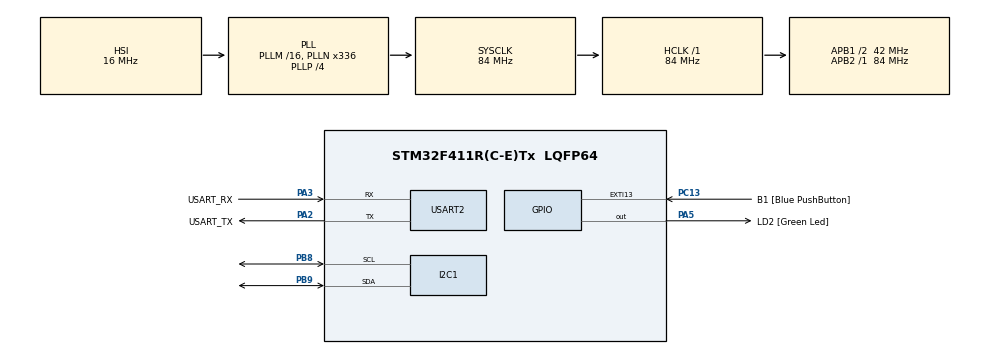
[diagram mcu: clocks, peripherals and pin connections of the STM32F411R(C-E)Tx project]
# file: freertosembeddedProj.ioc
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FREERTOS.Tasks01=defaultTask,24,512,StartDefaultTask,Default,NULL,Dynamic,NULL,NULL
Mcu.Family=STM32F4
Mcu.Name=STM32F411R(C-E)Tx
Mcu.Package=LQFP64
NVIC.PriorityGroup=NVIC_PRIORITYGROUP_4
NVIC.TIM1_UP_TIM10_IRQn=true\:15\:0\:false\:false\:true\:false\:false\:true\:true
NVIC.TimeBase=TIM1_UP_TIM10_IRQn
NVIC.TimeBaseIP=TIM1
PA13.GPIO_Label=TMS
PA13.Mode=Serial_Wire
PA13.Signal=SYS_JTMS-SWDIO
PA14.GPIO_Label=TCK
PA14.Mode=Serial_Wire
PA14.Signal=SYS_JTCK-SWCLK
PA2.GPIO_Label=USART_TX
PA2.Mode=Asynchronous
PA2.Signal=USART2_TX
PA3.GPIO_Label=USART_RX
PA3.Mode=Asynchronous
PA3.Signal=USART2_RX
PA5.GPIO_Label=LD2 [Green Led]
PA5.Signal=GPIO_Output
PB3.GPIO_Label=SWO
PB3.Signal=SYS_JTDO-SWO
PB8.Mode=I2C
PB8.Signal=I2C1_SCL
PB9.Mode=I2C
PB9.Signal=I2C1_SDA
PC13-ANTI_TAMP.GPIO_Label=B1 [Blue PushButton]
PC13-ANTI_TAMP.GPIO_ModeDefaultEXTI=GPIO_MODE_IT_FALLING
PC13-ANTI_TAMP.Signal=GPXTI13
PC14-OSC32_IN.Signal=RCC_OSC32_IN
PC15-OSC32_OUT.Signal=RCC_OSC32_OUT
PH0\ -\ OSC_IN.Signal=RCC_OSC_IN
PH1\ -\ OSC_OUT.Signal=RCC_OSC_OUT
ProjectManager.HeapSize=0x200
ProjectManager.StackSize=0x400
ProjectManager.TargetToolchain=Makefile
RCC.48MHZClocksFreq_Value=84000000
RCC.AHBFreq_Value=84000000
RCC.APB1CLKDivider=RCC_HCLK_DIV2
RCC.APB1Freq_Value=42000000
RCC.APB1TimFreq_Value=84000000
RCC.APB2Freq_Value=84000000
RCC.APB2TimFreq_Value=84000000
RCC.CortexFreq_Value=84000000
RCC.FLatency-AdvancedSettings=FLASH_LATENCY_2
RCC.HCLKFreq_Value=84000000
RCC.HSE_VALUE=8000000
RCC.HSI_VALUE=16000000
RCC.LSE_VALUE=32768
RCC.PLLN=336
RCC.PLLP=RCC_PLLP_DIV4
RCC.SYSCLKFreq_VALUE=84000000
RCC.SYSCLKSource=RCC_SYSCLKSOURCE_PLLCLK
RCC.VCOOutputFreq_Value=336000000
USART2.VirtualMode=VM_ASYNC
VP_FREERTOS_VS_CMSIS_V2.Mode=CMSIS_V2
VP_SYS_VS_tim1.Mode=TIM1
board=NUCLEO-F411RE

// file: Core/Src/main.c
/* USER CODE BEGIN Header */
/**
  ******************************************************************************
  * @file           : main.c
  * @brief          : Main program body
  ******************************************************************************
  * @attention
  *
  * Copyright (c) 2026 STMicroelectronics.
  * All rights reserved.
  *
  * This software is licensed under terms that can be found in the LICENSE file
  * in the root directory of this software component.
  * If no LICENSE file comes with this software, it is provided AS-IS.
  *
  ******************************************************************************
  */
/* USER CODE END Header */
#include "main.h"
#include "cmsis_os.h"
#include "i2c.h"
#include "usart.h"
#include "gpio.h"

void SystemClock_Config(void);
void MX_FREERTOS_Init(void);

int main(void)
{

  /* MCU Configuration--------------------------------------------------------*/

  /* Reset of all peripherals, Initializes the Flash interface and the Systick. */
  HAL_Init();

  /* Configure the system clock */
  SystemClock_Config();

  /* Initialize all configured peripherals */
  MX_GPIO_Init();
  MX_I2C1_Init();
  MX_USART2_UART_Init();

  /* Init scheduler */
  osKernelInitialize();  /* Call init function for freertos objects (in cmsis_os2.c) */
  MX_FREERTOS_Init();

  /* Start scheduler */
  osKernelStart();

  /* We should never get here as control is now taken by the scheduler */

  /* Infinite loop */
  while (1)
  {

  }
}

void SystemClock_Config(void)
{
  RCC_OscInitTypeDef RCC_OscInitStruct = {0};
  RCC_ClkInitTypeDef RCC_ClkInitStruct = {0};

  /** Configure the main internal regulator output voltage
  */
  __HAL_RCC_PWR_CLK_ENABLE();
  __HAL_PWR_VOLTAGESCALING_CONFIG(PWR_REGULATOR_VOLTAGE_SCALE1);

  /** Initializes the RCC Oscillators according to the specified parameters
  * in the RCC_OscInitTypeDef structure.
  */
  RCC_OscInitStruct.OscillatorType = RCC_OSCILLATORTYPE_HSI;
  RCC_OscInitStruct.HSIState = RCC_HSI_ON;
  RCC_OscInitStruct.HSICalibrationValue = RCC_HSICALIBRATION_DEFAULT;
  RCC_OscInitStruct.PLL.PLLState = RCC_PLL_ON;
  RCC_OscInitStruct.PLL.PLLSource = RCC_PLLSOURCE_HSI;
  RCC_OscInitStruct.PLL.PLLM = 16;
  RCC_OscInitStruct.PLL.PLLN = 336;
  RCC_OscInitStruct.PLL.PLLP = RCC_PLLP_DIV4;
  RCC_OscInitStruct.PLL.PLLQ = 4;
  if (HAL_RCC_OscConfig(&RCC_OscInitStruct) != HAL_OK)
  {
    Error_Handler();
  }

  /** Initializes the CPU, AHB and APB buses clocks
  */
  RCC_ClkInitStruct.ClockType = RCC_CLOCKTYPE_HCLK|RCC_CLOCKTYPE_SYSCLK
                              |RCC_CLOCKTYPE_PCLK1|RCC_CLOCKTYPE_PCLK2;
  RCC_ClkInitStruct.SYSCLKSource = RCC_SYSCLKSOURCE_PLLCLK;
  RCC_ClkInitStruct.AHBCLKDivider = RCC_SYSCLK_DIV1;
  RCC_ClkInitStruct.APB1CLKDivider = RCC_HCLK_DIV2;
  RCC_ClkInitStruct.APB2CLKDivider = RCC_HCLK_DIV1;

  if (HAL_RCC_ClockConfig(&RCC_ClkInitStruct, FLASH_LATENCY_2) != HAL_OK)
  {
    Error_Handler();
  }
}

void HAL_TIM_PeriodElapsedCallback(TIM_HandleTypeDef *htim)
{
  if (htim->Instance == TIM1)
  {
    HAL_IncTick();
  }
}

void Error_Handler(void)
{
  __disable_irq();
  while (1)
  {
  }
}

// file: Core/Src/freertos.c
/* USER CODE BEGIN Header */
/**
  ******************************************************************************
  * File Name          : freertos.c
  * Description        : Code for freertos applications
  ******************************************************************************
  * @attention
  *
  * Copyright (c) 2026 STMicroelectronics.
  * All rights reserved.
  *
  * This software is licensed under terms that can be found in the LICENSE file
  * in the root directory of this software component.
  * If no LICENSE file comes with this software, it is provided AS-IS.
  *
  ******************************************************************************
  */
/* USER CODE END Header */

#include "FreeRTOS.h"
#include "task.h"
#include "main.h"
#include "cmsis_os.h"

/* USER CODE BEGIN Includes */
#include "ssd1306.h"
#include "ssd1306_font.h"
#include "makeqrcode.h"
#include "usart.h"
#include <stdio.h>
#include <string.h>
/* USER CODE END Includes */

/* USER CODE BEGIN PD */
#define CPU_MEASURE_PERIOD_MS 500
/* USER CODE END PD */

/* USER CODE BEGIN Variables */
volatile uint32_t idleCount = 0;
volatile uint32_t idleCountMax = 0;
volatile float cpuUsage = 0.0f;
/* USER CODE END Variables */
/* Definitions for defaultTask */
osThreadId_t defaultTaskHandle;
const osThreadAttr_t defaultTask_attributes = {
  .name = "defaultTask",
  .stack_size = 512 * 4,
  .priority = (osPriority_t) osPriorityNormal,
};

void StartDefaultTask(void *argument);

void MX_FREERTOS_Init(void); /* (MISRA C 2004 rule 8.1) */

void MX_FREERTOS_Init(void) {

  /* Create the thread(s) */
  /* creation of defaultTask */
  defaultTaskHandle = osThreadNew(StartDefaultTask, NULL, &defaultTask_attributes);

}

void StartDefaultTask(void *argument)
{
  /* USER CODE BEGIN StartDefaultTask */
  char msg[] = "Boot Complete.\r\n";
  HAL_UART_Transmit(&huart2, (uint8_t*)msg, strlen(msg), HAL_MAX_DELAY);
  SSD1306_Init();
  SSD1306_Fill(0);
  SSD1306_SetCursor(0, 0);
  SSD1306_UpdateScreen();
  osDelay(100);

  idleCount = 0;
  osDelay(CPU_MEASURE_PERIOD_MS);
  idleCountMax = idleCount;
  idleCount = 0;

  char buff[32];
  uint32_t prevTick = osKernelGetTickCount();

  createQR();
  renderQR(20, 0);
  SSD1306_UpdateScreen();
  /* Infinite loop */
  for(;;)
  {
    // idleCount = 0;

    // SSD1306_Fill(0);
    // sprintf(buff, "CPU: %.1f %%", cpuUsage);
    // SSD1306_SetCursor(0, 0);
    // SSD1306_WriteString(buff, 1);

    // sprintf(buff, "Max: %lu", idleCountMax);
    // SSD1306_SetCursor(0, 20);
    // SSD1306_WriteString(buff, 1);

    // SSD1306_UpdateScreen();

    // HAL_GPIO_TogglePin(LD2_GPIO_Port, LD2_Pin);

    // prevTick += CPU_MEASURE_PERIOD_MS;
    // osDelayUntil(prevTick);

    // if(idleCountMax > 0)
    // {
    //   cpuUsage = 100.0f - ((float)idleCount / (float)idleCountMax * 100.0f);
    //   if(cpuUsage < 0) cpuUsage = 0;
    // }
  }
  /* USER CODE END StartDefaultTask */
}

/* USER CODE BEGIN Application */
void vApplicationIdleHook(void)
{
  if(idleCount < UINT32_MAX- 1000) idleCount++;
}
/* USER CODE END Application */
